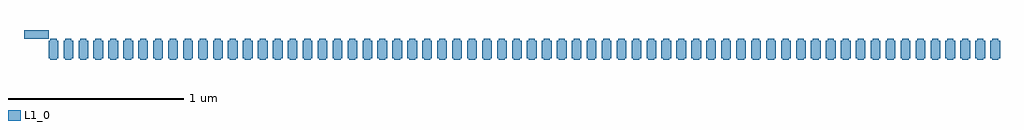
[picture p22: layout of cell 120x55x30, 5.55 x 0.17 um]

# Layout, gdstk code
import gdstk
lib = gdstk.Library(unit=1e-6, precision=1e-09)
def R(c, l, rs):  # rectangles x0, y0, x1, y1
    for r in rs: c.add(gdstk.rectangle(r[:2], r[2:], *l))
def P(c, l, *ps):  # polygons
    for p in ps: c.add(gdstk.Polygon(p, *l))
L1_0 = (1, 0)

c_120x55single = lib.new_cell('120x55single')
P(c_120x55single, L1_0, [(0,0),(0.01,0),(0.01,-0.01),(0.045,-0.01),(0.045,0),(0.055,0),(0.055,0.1),(0.045,0.1),(0.045,0.11),(0.01,0.11),(0.01,0.1),(0,0.1)])

c_120x55x30 = lib.new_cell('120x55x30')
R(c_120x55x30, L1_0, [(-0.14,0.12,0,0.17)])
r = gdstk.Reference(c_120x55single, (0,0.01)); r.repetition = gdstk.Repetition(64, 1, v1=(0.085,0), v2=(0,0)); c_120x55x30.add(r)

lib.write_gds('120x55x30.gds')
